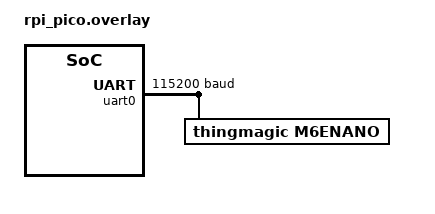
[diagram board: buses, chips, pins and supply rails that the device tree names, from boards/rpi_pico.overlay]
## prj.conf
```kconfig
# Copyright (c) 2021 Nordic Semiconductor ASA
# SPDX-License-Identifier: Apache-2.0
#
# This file contains selected Kconfig options for the application.

CONFIG_M6E_NANO=y
```

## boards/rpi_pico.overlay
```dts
// &uart0 {
	//     status = "okay";
	//     current-speed = <115200>;
	//     pinctrl-names = "default";

	//     fps {
		//         #address-cells = <1>;
		//         #size-cells = <0>;
		//         m6enano@ffffffff {
			//             compatible = "thingmagic,m6enano";
			//             reg = <0xffffffff>;
		//         };
	//     };
// };

&uart0 {
	status = "okay";
	current-speed = <115200>;
	pinctrl-names = "default";

	m6enano {
		compatible = "thingmagic,m6enano";
	};
};
```

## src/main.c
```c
/*
 * Copyright (c) 2021 Nordic Semiconductor ASA
 * SPDX-License-Identifier: Apache-2.0
 */

#include <zephyr/kernel.h>
#include <zephyr/drivers/sensor.h>
#include <app_version.h>

#include <zephyr/logging/log.h>
LOG_MODULE_REGISTER(main, CONFIG_APP_LOG_LEVEL);

int main(void)
{
	int ret;
	const struct device *sensor;

	printk("Zephyr Example Application %s\n", APP_VERSION_STRING);

	sensor = DEVICE_DT_GET_ONE(thingmagic_m6enano);

	if (!device_is_ready(sensor)) {
		LOG_ERR("Sensor not ready");
		return 0;
	}

	while (1) {
		struct sensor_value val;

		ret = sensor_sample_fetch(sensor);
		if (ret < 0) {
			LOG_ERR("Could not fetch sample (%d)", ret);
			return 0;
		}

		ret = sensor_channel_get(sensor, SENSOR_CHAN_PROX, &val);
		if (ret < 0) {
			LOG_ERR("Could not get sample (%d)", ret);
			return 0;
		}

		printk("Sensor value: %d\n", val.val1);

		k_sleep(K_MSEC(1000));
	}

	return 0;
}
```
